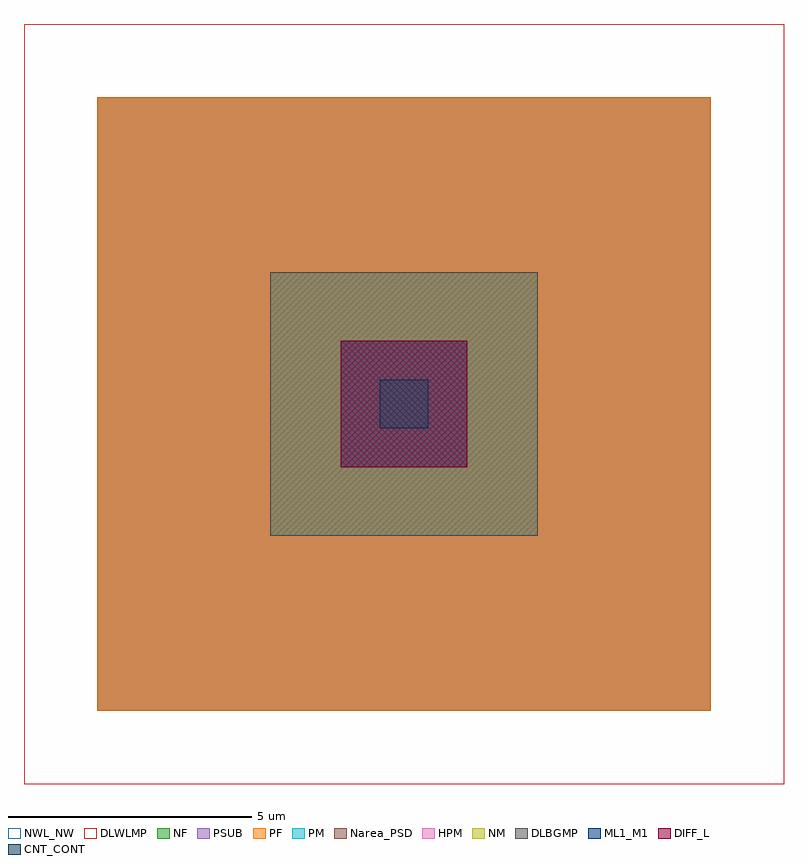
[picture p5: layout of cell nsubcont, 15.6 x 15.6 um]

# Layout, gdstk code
import gdstk
lib = gdstk.Library(unit=1e-6, precision=1e-09)
def R(c, l, rs):  # rectangles x0, y0, x1, y1
    for r in rs: c.add(gdstk.rectangle(r[:2], r[2:], *l))
DIFF_L = (3, 0)
NM = (7, 0)
Narea_PSD = (9, 0)
CNT_CONT = (11, 0)
ML1_M1 = (13, 0)
NF = (25, 0)
PF = (26, 0)
HPM = (33, 0)
PM = (35, 0)
NWL_NW = (36, 0)
PSUB = (140, 0)
DLWLMP = (150, 0)
DLBGMP = (177, 0)

dcont = lib.new_cell('DCONT')
R(dcont, DIFF_L, [(-1.3,-1.3,1.3,1.3)])
R(dcont, CNT_CONT, [(-0.5,-0.5,0.5,0.5)])
R(dcont, ML1_M1, [(-1.3,-1.3,1.3,1.3), (-0.5,-0.5,0.5,0.5)])

nsubcont = lib.new_cell('nsubcont')
R(nsubcont, NM, [(-2.75,-2.7,2.75,2.7)])
R(nsubcont, Narea_PSD, [(-2.75,-2.7,2.75,2.7)])
R(nsubcont, NF, [(-6.3,-6.3,6.3,6.3)])
R(nsubcont, PF, [(-6.3,-6.3,6.3,6.3)])
R(nsubcont, HPM, [(-2.75,-2.7,2.75,2.7)])
R(nsubcont, PM, [(-2.75,-2.7,2.75,2.7)])
R(nsubcont, NWL_NW, [(-7.8,-7.8,7.8,7.8)])
R(nsubcont, PSUB, [(-6.3,-6.3,6.3,6.3)])
R(nsubcont, DLWLMP, [(-7.8,-7.8,7.8,7.8)])
R(nsubcont, DLBGMP, [(-2.75,-2.7,2.75,2.7)])
nsubcont.add(gdstk.Reference(dcont, (0,0)))

lib.write_gds('nsubcont.gds')
